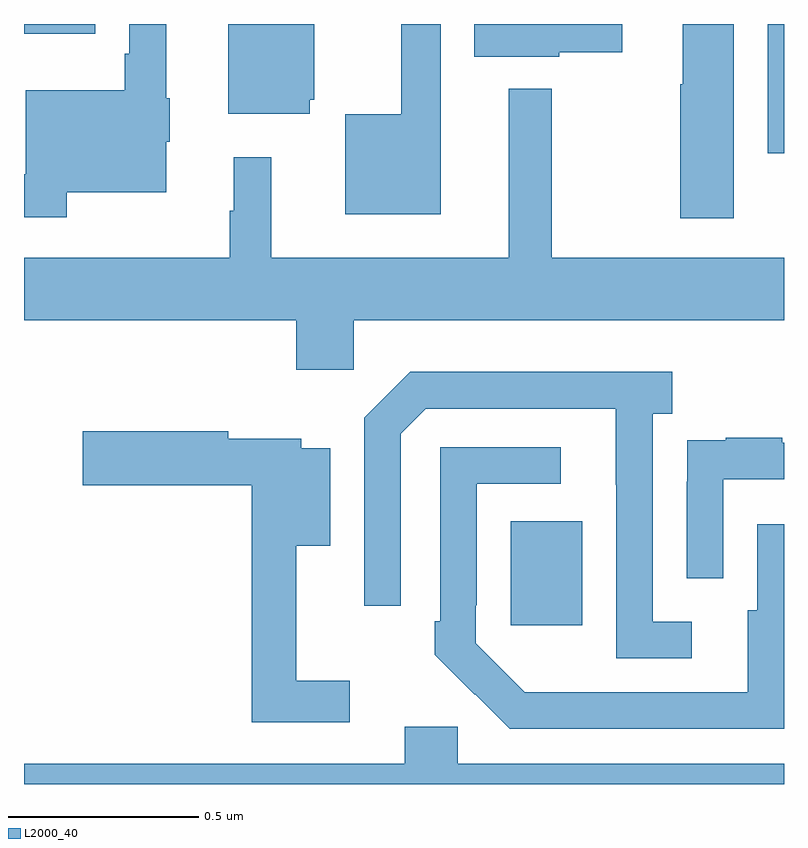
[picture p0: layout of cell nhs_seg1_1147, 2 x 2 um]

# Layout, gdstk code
import gdstk
lib = gdstk.Library(unit=1e-6, precision=1e-09)
def R(c, l, rs):  # rectangles x0, y0, x1, y1
    for r in rs: c.add(gdstk.rectangle(r[:2], r[2:], *l))
def P(c, l, *ps):  # polygons
    for p in ps: c.add(gdstk.Polygon(p, *l))
L2000_40 = (2000, 40)

nhs_seg1_1147 = lib.new_cell('nhs_seg1_1147')
R(nhs_seg1_1147, L2000_40, [(126.281,529.617,126.469,529.891), (126.957,530.859,127,531.199), (125,531.173,125.188,531.199)])
P(nhs_seg1_1147, L2000_40, [(126.868,531.199),(126.734,531.199),(126.734,531.041),(126.727,531.041),(126.727,530.688),(126.868,530.688)],
  [(126.408,531.125),(126.574,531.125),(126.574,531.199),(126.185,531.199),(126.185,531.113),(126.408,531.113)],
  [(125.752,531),(125.764,531),(125.764,531.199),(125.537,531.199),(125.537,530.963),(125.752,530.963)],
  [(126.097,531.199),(125.993,531.199),(125.993,530.962),(125.846,530.962),(125.846,530.699),(126.097,530.699)],
  [(125.113,530.756),(125.374,530.756),(125.374,530.889),(125.383,530.889),(125.383,531.003),(125.374,531.003),(125.374,531.199),(125.277,531.199),(125.277,531.121),(125.265,531.121),(125.265,531.025),(125.004,531.025),(125.004,530.803),(125,530.803),(125,530.691),(125.113,530.691)],
  [(125.868,530.42),(127,530.42),(127,530.584),(126.389,530.584),(126.389,531.028),(126.275,531.028),(126.275,530.584),(125.651,530.584),(125.651,530.848),(125.552,530.848),(125.552,530.708),(125.541,530.708),(125.541,530.584),(125,530.584),(125,530.42),(125.717,530.42),(125.717,530.289),(125.868,530.289)],
  [(126.757,529.626),(126.654,529.626),(126.654,530.174),(126.706,530.174),(126.706,530.284),(126.016,530.284),(125.895,530.163),(125.895,529.668),(125.991,529.668),(125.991,530.121),(126.057,530.187),(126.557,530.187),(126.557,529.987),(126.558,529.987),(126.558,529.53),(126.757,529.53)],
  [(125.857,529.471),(125.717,529.471),(125.717,529.826),(125.806,529.826),(125.806,530.083),(125.73,530.083),(125.73,530.107),(125.538,530.107),(125.538,530.127),(125.154,530.127),(125.154,529.985),(125.599,529.985),(125.599,529.362),(125.857,529.362)],
  [(126.84,530.001),(127,530.001),(127,530.097),(126.995,530.097),(126.995,530.11),(126.847,530.11),(126.847,530.103),(126.745,530.103),(126.745,529.994),(126.744,529.994),(126.744,529.74),(126.84,529.74)],
  [(127,529.882),(126.929,529.882),(126.929,529.656),(126.905,529.656),(126.905,529.44),(126.421,529.44),(126.421,529.441),(126.318,529.441),(126.189,529.569),(126.189,529.669),(126.192,529.669),(126.192,529.989),(126.412,529.989),(126.412,530.085),(126.096,530.085),(126.096,529.627),(126.081,529.627),(126.081,529.539),(126.186,529.434),(126.187,529.435),(126.278,529.344),(127,529.344)],
  [(127,529.252),(126.141,529.252),(126.141,529.35),(126.002,529.35),(126.002,529.252),(125,529.252),(125,529.199),(127,529.199)])

lib.write_gds('nhs_seg1_1147.gds')
